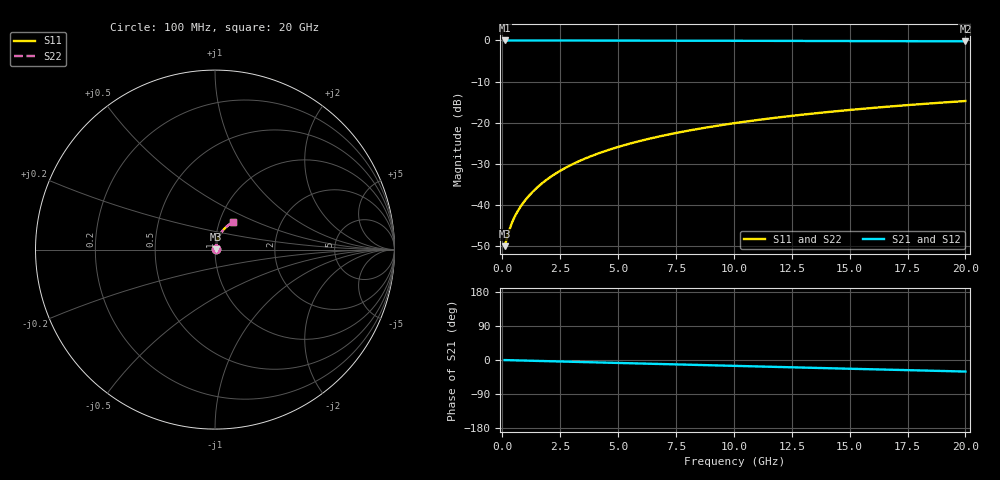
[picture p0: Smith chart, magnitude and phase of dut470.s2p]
! Touchstone file exported from HFSS 2026.1.0
!  File:  C:/ffzhzh/LocalFiles/Ansys_Project_Files/temp_train_TMRDL_470_1783006174_46388.aedt
!  Generated:  11:30:53 PM Jul  2, 2026
!  Design:  TMRDL
!  Project:  temp_train_TMRDL_470_1783006174_46388
! Variables:
!  h_bsmrdl = 2um
!  h_ox = 20um
!  h_rdl = 5um
!  h_sub = 80um
!  h_tmrdl = 2.55um
!  h_tsv = 80um
!  h_via = 3um
!  l_bsmrdl = 300um
!  l_sub = 884.35um
!  l_tmrdl = 484.35um
!  m_sub = 200um
!  pitch = 38.22um
!  r_tsv = 6um
!  s_tmrdl = 10um
!  w_bsmrdl = 18um
!  w_sub = 500um
!  w_tmrdl = 26.35um
!  x_tsv_center1 = 497.525um
!  x_tsv_center2 = 815.525um
!  x_tsv_center3 = 1326.225um
!  x_tsv_center4 = 1644.225um
!  x_tsv_center5 = 2154.925um
!  x_tsv_center6 = 2472.925um
# GHz S MA R 50.000000
! Terminal data exported
! Port[1] = TM_RDL1_1_T1
! Port[2] = TM_RDL1_1_T2
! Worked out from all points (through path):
!   200 points, 100 MHz to 20 GHz, reference 50 ohm
!   highest |S21| = -0.03 dB at 100 MHz (marker M1); lowest = -0.2 dB at 20 GHz (marker M2)
!   group delay of S21, straight-line fit = 4.23 ps
!   lowest |S11| = -50.0 dB at 100 MHz (marker M3), VSWR 1.01, Z = 50.3 + j0.132 ohm
!   |S11| at or under -10 dB: start of sweep to end of sweep
!   |S22| runs from -50.0 to -14.7 dB; largest |S21 - S12| = 2.5e-15
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0.1  0.003178 24.4  0.9971 -0.2  0.9971 -0.2  0.003178 24.4
! Gamma 0 0 0 0
! Port Impedance 50 0 50 0
0.3  0.004958 48.6  0.9967 -0.5  0.9967 -0.5  0.004958 48.6
0.4  0.00594 53.9  0.9965 -0.7  0.9965 -0.7  0.005939 53.9
0.5  0.006901 57.5  0.9964 -0.8  0.9964 -0.8  0.0069 57.6
0.6  0.007843 60.3  0.9962 -1.0  0.9962 -1.0  0.007842 60.3
0.8  0.009702 64.5  0.996 -1.3  0.996 -1.3  0.0097 64.5
1  0.01156 67.6  0.9958 -1.6  0.9958 -1.6  0.01156 67.6
1.2  0.01345 69.8  0.9957 -1.9  0.9957 -1.9  0.01345 69.9
1.4  0.01535 71.6  0.9956 -2.2  0.9956 -2.2  0.01535 71.6
1.7  0.01825 73.5  0.9955 -2.7  0.9955 -2.7  0.01825 73.5
2.2  0.02314 75.3  0.9953 -3.5  0.9953 -3.5  0.02314 75.4
2.8  0.02907 76.4  0.995 -4.4  0.995 -4.4  0.02907 76.5
3.5  0.03601 76.8  0.9946 -5.5  0.9946 -5.5  0.03601 76.9
4.2  0.04294 76.7  0.9941 -6.6  0.9941 -6.6  0.04294 76.8
5  0.05084 76.2  0.9935 -7.8  0.9935 -7.8  0.05083 76.3
5.9  0.05965 75.4  0.9927 -9.2  0.9927 -9.2  0.05965 75.5
6.8  0.06839 74.4  0.9918 -10.6  0.9918 -10.6  0.06838 74.5
8.3  0.08273 72.6  0.9901 -12.9  0.9901 -12.9  0.08272 72.7
10.1  0.09954 70.2  0.9879 -15.7  0.9879 -15.7  0.09953 70.3
13.4  0.1292 65.5  0.9832 -20.7  0.9832 -20.7  0.1292 65.7
16.7  0.1572 60.9  0.978 -25.6  0.978 -25.6  0.1572 61.0
20  0.1836 56.2  0.9725 -30.5  0.9725 -30.5  0.1835 56.4
